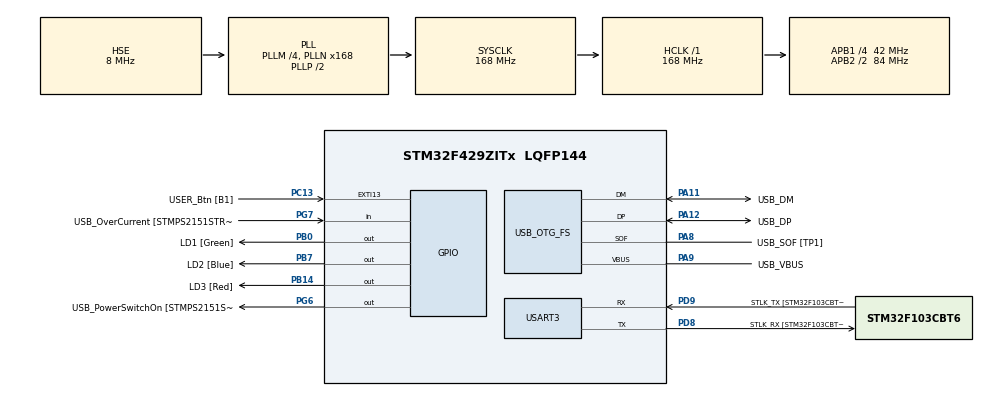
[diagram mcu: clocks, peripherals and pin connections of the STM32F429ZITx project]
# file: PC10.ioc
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Mcu.Family=STM32F4
Mcu.Name=STM32F429ZITx
Mcu.Package=LQFP144
NVIC.OTG_FS_IRQn=true\:0\:0\:false\:false\:true\:false\:true\:true
NVIC.PriorityGroup=NVIC_PRIORITYGROUP_4
PA1.GPIO_Label=RMII_REF_CLK [LAN8742A-CZ-TR_REFCLK0]
PA1.Signal=ETH_REF_CLK
PA10.GPIO_Label=USB_ID
PA10.Signal=USB_OTG_FS_ID
PA11.GPIO_Label=USB_DM
PA11.Mode=Device_Only
PA11.Signal=USB_OTG_FS_DM
PA12.GPIO_Label=USB_DP
PA12.Mode=Device_Only
PA12.Signal=USB_OTG_FS_DP
PA13.GPIO_Label=TMS
PA13.Mode=Serial_Wire
PA13.Signal=SYS_JTMS-SWDIO
PA14.GPIO_Label=TCK
PA14.Mode=Serial_Wire
PA14.Signal=SYS_JTCK-SWCLK
PA2.GPIO_Label=RMII_MDIO [LAN8742A-CZ-TR_MDIO]
PA2.Signal=ETH_MDIO
PA7.GPIO_Label=RMII_CRS_DV [LAN8742A-CZ-TR_CRS_DV]
PA7.Signal=ETH_CRS_DV
PA8.GPIO_Label=USB_SOF [TP1]
PA8.Mode=Activate_SOF_FS
PA8.Signal=USB_OTG_FS_SOF
PA9.GPIO_Label=USB_VBUS
PA9.Mode=Activate_VBUS
PA9.Signal=USB_OTG_FS_VBUS
PB0.GPIO_Label=LD1 [Green]
PB0.Signal=GPIO_Output
PB13.GPIO_Label=RMII_TXD1 [LAN8742A-CZ-TR_TXD1]
PB13.Signal=ETH_TXD1
PB14.GPIO_Label=LD3 [Red]
PB14.Signal=GPIO_Output
PB7.GPIO_Label=LD2 [Blue]
PB7.Signal=GPIO_Output
PC1.GPIO_Label=RMII_MDC [LAN8742A-CZ-TR_MDC]
PC1.Signal=ETH_MDC
PC13.GPIO_Label=USER_Btn [B1]
PC13.Signal=GPXTI13
PC14/OSC32_IN.Mode=LSE-External-Oscillator
PC14/OSC32_IN.Signal=RCC_OSC32_IN
PC15/OSC32_OUT.Mode=LSE-External-Oscillator
PC15/OSC32_OUT.Signal=RCC_OSC32_OUT
PC4.GPIO_Label=RMII_RXD0 [LAN8742A-CZ-TR_RXD0]
PC4.Signal=ETH_RXD0
PC5.GPIO_Label=RMII_RXD1 [LAN8742A-CZ-TR_RXD1]
PC5.Signal=ETH_RXD1
PD8.GPIO_Label=STLK_RX [STM32F103CBT6_PA3]
PD8.Mode=Asynchronous
PD8.Signal=USART3_TX
PD9.GPIO_Label=STLK_TX [STM32F103CBT6_PA2]
PD9.Mode=Asynchronous
PD9.Signal=USART3_RX
PG11.GPIO_Label=RMII_TX_EN [LAN8742A-CZ-TR_TXEN]
PG11.Signal=ETH_TX_EN
PG13.GPIO_Label=RMII_TXD0 [LAN8742A-CZ-TR_TXD0]
PG13.Signal=ETH_TXD0
PG6.GPIO_Label=USB_PowerSwitchOn [STMPS2151STR_EN]
PG6.Signal=GPIO_Output
PG7.GPIO_Label=USB_OverCurrent [STMPS2151STR_FAULT]
PG7.Signal=GPIO_Input
PH0/OSC_IN.GPIO_Label=MCO [STM32F103CBT6_PA8]
PH0/OSC_IN.Mode=HSE-External-Clock-Source
PH0/OSC_IN.Signal=RCC_OSC_IN
PH1/OSC_OUT.Mode=HSE-External-Clock-Source
PH1/OSC_OUT.Signal=RCC_OSC_OUT
ProjectManager.HeapSize=0x200
ProjectManager.StackSize=0x400
ProjectManager.TargetToolchain=STM32CubeIDE
RCC.48MHZClocksFreq_Value=48000000
RCC.AHBFreq_Value=168000000
RCC.APB1CLKDivider=RCC_HCLK_DIV4
RCC.APB1Freq_Value=42000000
RCC.APB1TimFreq_Value=84000000
RCC.APB2CLKDivider=RCC_HCLK_DIV2
RCC.APB2Freq_Value=84000000
RCC.APB2TimCLKDivider=2
RCC.APB2TimFreq_Value=168000000
RCC.CortexFreq_Value=168000000
RCC.HCLKFreq_Value=168000000
RCC.HSE_VALUE=8000000
RCC.HSI_VALUE=16000000
RCC.PLLM=4
RCC.PLLMUL=RCC_PLL_MUL9
RCC.PLLN=168
RCC.PLLQ=7
RCC.PRESCALERUSB=RCC_USBCLKSOURCE_PLL_DIV1_5
RCC.SYSCLKFreq_VALUE=168000000
RCC.SYSCLKSource=RCC_SYSCLKSOURCE_PLLCLK
RCC.SYSCLKSourceVirtual=RCC_SYSCLKSOURCE_PLLCLK
RCC.USBFreq_Value=48000000
RCC.VCOOutputFreq_Value=336000000
USART3.VirtualMode=VM_ASYNC
USB_DEVICE.CLASS_NAME_FS=HID
USB_DEVICE.VirtualMode-HID_FS=Hid
USB_DEVICE.VirtualModeFS=Hid_FS
USB_OTG_FS.VirtualMode=Device_Only
VP_USB_DEVICE_VS_USB_DEVICE_HID_FS.Mode=HID_FS
board=NUCLEO-F429ZI

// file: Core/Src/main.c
/* USER CODE BEGIN Header */
/**
  ******************************************************************************
  * @file           : main.c
  * @brief          : Main program body
  ******************************************************************************
  * @attention
  *
  * Copyright (c) 2025 STMicroelectronics.
  * All rights reserved.
  *
  * This software is licensed under terms that can be found in the LICENSE file
  * in the root directory of this software component.
  * If no LICENSE file comes with this software, it is provided AS-IS.
  *
  ******************************************************************************
  */
/* USER CODE END Header */
#include "main.h"
#include "usb_device.h"

/* USER CODE BEGIN Includes */

#include "usbd_hid.h"
#include <math.h>

/* USER CODE END Includes */

UART_HandleTypeDef huart3;

void SystemClock_Config(void);
static void MX_GPIO_Init(void);
static void MX_USART3_UART_Init(void);

/* USER CODE BEGIN 0 */

extern USBD_HandleTypeDef hUsbDeviceFS;

void mouseMove(int8_t x, int8_t y, uint8_t click)
{
	uint8_t buff[4];
	buff[0] = (click)?0x01:0x00; // press the left button
	buff[1] = (int8_t)(x); // shift X +10
	buff[2] = (int8_t)(y); // shift Y -3
	buff[3] = 0; // no scroll
	USBD_HID_SendReport(&hUsbDeviceFS, buff, sizeof(buff));
	HAL_Delay(USBD_HID_GetPollingInterval(&hUsbDeviceFS));
}

const float pi = acos(-1);

void plotCircle(float angleStart, float angleStop, float angleStep, uint8_t maxStepSize)
{

		 	  float lastSin = sinf(angleStart);
		   float lastCos = cosf(angleStart);

	for(float ang = angleStart; ang < angleStop; ang += angleStep)
	  {

		  float curSin = sinf(ang);
		  float curCos = cosf(ang);

		  int8_t sx = (curSin - lastSin) * maxStepSize;
		  int8_t sy = (curCos - lastCos) * maxStepSize;

		  lastSin = curSin;
		  lastCos = curCos;

		  mouseMove(sx, sy, 1);
	  }

	mouseMove(0, 0, 0);
}

/* USER CODE END 0 */

int main(void)
{

  /* MCU Configuration--------------------------------------------------------*/

  /* Reset of all peripherals, Initializes the Flash interface and the Systick. */
  HAL_Init();

  /* Configure the system clock */
  SystemClock_Config();

  /* Initialize all configured peripherals */
  MX_GPIO_Init();
  MX_USART3_UART_Init();
  MX_USB_DEVICE_Init();

  /* Infinite loop */
  /* USER CODE BEGIN WHILE */
  while (1)
  {
	  if(HAL_GPIO_ReadPin(USER_Btn_GPIO_Port, USER_Btn_Pin))
	  {
		  plotCircle(0, 2*pi, 0.1, 127);
		  mouseMove(-40, -80, 0);
		  plotCircle(0, 2*pi, 0.1, 30);
		  mouseMove(80, 0, 0);
		  plotCircle(0, 2*pi, 0.1, 30);

		  mouseMove(-25, 00, 1);
		  mouseMove(0, 20, 0);

		  mouseMove(-50, -5, 0);
		  plotCircle(-pi/3, pi/3, 0.1, 100);

	  }
	  else
	  {

	  }
    /* USER CODE END WHILE */

  }
}

void SystemClock_Config(void)
{
  RCC_OscInitTypeDef RCC_OscInitStruct = {0};
  RCC_ClkInitTypeDef RCC_ClkInitStruct = {0};

  /** Configure the main internal regulator output voltage
  */
  __HAL_RCC_PWR_CLK_ENABLE();
  __HAL_PWR_VOLTAGESCALING_CONFIG(PWR_REGULATOR_VOLTAGE_SCALE1);

  /** Initializes the RCC Oscillators according to the specified parameters
  * in the RCC_OscInitTypeDef structure.
  */
  RCC_OscInitStruct.OscillatorType = RCC_OSCILLATORTYPE_HSE;
  RCC_OscInitStruct.HSEState = RCC_HSE_BYPASS;
  RCC_OscInitStruct.PLL.PLLState = RCC_PLL_ON;
  RCC_OscInitStruct.PLL.PLLSource = RCC_PLLSOURCE_HSE;
  RCC_OscInitStruct.PLL.PLLM = 4;
  RCC_OscInitStruct.PLL.PLLN = 168;
  RCC_OscInitStruct.PLL.PLLP = RCC_PLLP_DIV2;
  RCC_OscInitStruct.PLL.PLLQ = 7;
  if (HAL_RCC_OscConfig(&RCC_OscInitStruct) != HAL_OK)
  {
    Error_Handler();
  }

  /** Initializes the CPU, AHB and APB buses clocks
  */
  RCC_ClkInitStruct.ClockType = RCC_CLOCKTYPE_HCLK|RCC_CLOCKTYPE_SYSCLK
                              |RCC_CLOCKTYPE_PCLK1|RCC_CLOCKTYPE_PCLK2;
  RCC_ClkInitStruct.SYSCLKSource = RCC_SYSCLKSOURCE_PLLCLK;
  RCC_ClkInitStruct.AHBCLKDivider = RCC_SYSCLK_DIV1;
  RCC_ClkInitStruct.APB1CLKDivider = RCC_HCLK_DIV4;
  RCC_ClkInitStruct.APB2CLKDivider = RCC_HCLK_DIV2;

  if (HAL_RCC_ClockConfig(&RCC_ClkInitStruct, FLASH_LATENCY_5) != HAL_OK)
  {
    Error_Handler();
  }
}

static void MX_USART3_UART_Init(void)
{

  huart3.Instance = USART3;
  huart3.Init.BaudRate = 115200;
  huart3.Init.WordLength = UART_WORDLENGTH_8B;
  huart3.Init.StopBits = UART_STOPBITS_1;
  huart3.Init.Parity = UART_PARITY_NONE;
  huart3.Init.Mode = UART_MODE_TX_RX;
  huart3.Init.HwFlowCtl = UART_HWCONTROL_NONE;
  huart3.Init.OverSampling = UART_OVERSAMPLING_16;
  if (HAL_UART_Init(&huart3) != HAL_OK)
  {
    Error_Handler();
  }

}

static void MX_GPIO_Init(void)
{
  GPIO_InitTypeDef GPIO_InitStruct = {0};

  /* GPIO Ports Clock Enable */
  __HAL_RCC_GPIOC_CLK_ENABLE();
  __HAL_RCC_GPIOH_CLK_ENABLE();
  __HAL_RCC_GPIOA_CLK_ENABLE();
  __HAL_RCC_GPIOB_CLK_ENABLE();
  __HAL_RCC_GPIOD_CLK_ENABLE();
  __HAL_RCC_GPIOG_CLK_ENABLE();

  /*Configure GPIO pin Output Level */
  HAL_GPIO_WritePin(GPIOB, LD1_Pin|LD3_Pin|LD2_Pin, GPIO_PIN_RESET);

  /*Configure GPIO pin Output Level */
  HAL_GPIO_WritePin(USB_PowerSwitchOn_GPIO_Port, USB_PowerSwitchOn_Pin, GPIO_PIN_RESET);

  /*Configure GPIO pin : USER_Btn_Pin */
  GPIO_InitStruct.Pin = USER_Btn_Pin;
  GPIO_InitStruct.Mode = GPIO_MODE_IT_RISING;
  GPIO_InitStruct.Pull = GPIO_NOPULL;
  HAL_GPIO_Init(USER_Btn_GPIO_Port, &GPIO_InitStruct);

  /*Configure GPIO pins : RMII_MDC_Pin RMII_RXD0_Pin RMII_RXD1_Pin */
  GPIO_InitStruct.Pin = RMII_MDC_Pin|RMII_RXD0_Pin|RMII_RXD1_Pin;
  GPIO_InitStruct.Mode = GPIO_MODE_AF_PP;
  GPIO_InitStruct.Pull = GPIO_NOPULL;
  GPIO_InitStruct.Speed = GPIO_SPEED_FREQ_VERY_HIGH;
  GPIO_InitStruct.Alternate = GPIO_AF11_ETH;
  HAL_GPIO_Init(GPIOC, &GPIO_InitStruct);

  /*Configure GPIO pins : RMII_REF_CLK_Pin RMII_MDIO_Pin RMII_CRS_DV_Pin */
  GPIO_InitStruct.Pin = RMII_REF_CLK_Pin|RMII_MDIO_Pin|RMII_CRS_DV_Pin;
  GPIO_InitStruct.Mode = GPIO_MODE_AF_PP;
  GPIO_InitStruct.Pull = GPIO_NOPULL;
  GPIO_InitStruct.Speed = GPIO_SPEED_FREQ_VERY_HIGH;
  GPIO_InitStruct.Alternate = GPIO_AF11_ETH;
  HAL_GPIO_Init(GPIOA, &GPIO_InitStruct);

  /*Configure GPIO pins : LD1_Pin LD3_Pin LD2_Pin */
  GPIO_InitStruct.Pin = LD1_Pin|LD3_Pin|LD2_Pin;
  GPIO_InitStruct.Mode = GPIO_MODE_OUTPUT_PP;
  GPIO_InitStruct.Pull = GPIO_NOPULL;
  GPIO_InitStruct.Speed = GPIO_SPEED_FREQ_LOW;
  HAL_GPIO_Init(GPIOB, &GPIO_InitStruct);

  /*Configure GPIO pin : RMII_TXD1_Pin */
  GPIO_InitStruct.Pin = RMII_TXD1_Pin;
  GPIO_InitStruct.Mode = GPIO_MODE_AF_PP;
  GPIO_InitStruct.Pull = GPIO_NOPULL;
  GPIO_InitStruct.Speed = GPIO_SPEED_FREQ_VERY_HIGH;
  GPIO_InitStruct.Alternate = GPIO_AF11_ETH;
  HAL_GPIO_Init(RMII_TXD1_GPIO_Port, &GPIO_InitStruct);

  /*Configure GPIO pin : USB_PowerSwitchOn_Pin */
  GPIO_InitStruct.Pin = USB_PowerSwitchOn_Pin;
  GPIO_InitStruct.Mode = GPIO_MODE_OUTPUT_PP;
  GPIO_InitStruct.Pull = GPIO_NOPULL;
  GPIO_InitStruct.Speed = GPIO_SPEED_FREQ_LOW;
  HAL_GPIO_Init(USB_PowerSwitchOn_GPIO_Port, &GPIO_InitStruct);

  /*Configure GPIO pin : USB_OverCurrent_Pin */
  GPIO_InitStruct.Pin = USB_OverCurrent_Pin;
  GPIO_InitStruct.Mode = GPIO_MODE_INPUT;
  GPIO_InitStruct.Pull = GPIO_NOPULL;
  HAL_GPIO_Init(USB_OverCurrent_GPIO_Port, &GPIO_InitStruct);

  /*Configure GPIO pins : RMII_TX_EN_Pin RMII_TXD0_Pin */
  GPIO_InitStruct.Pin = RMII_TX_EN_Pin|RMII_TXD0_Pin;
  GPIO_InitStruct.Mode = GPIO_MODE_AF_PP;
  GPIO_InitStruct.Pull = GPIO_NOPULL;
  GPIO_InitStruct.Speed = GPIO_SPEED_FREQ_VERY_HIGH;
  GPIO_InitStruct.Alternate = GPIO_AF11_ETH;
  HAL_GPIO_Init(GPIOG, &GPIO_InitStruct);

}

void Error_Handler(void)
{
  __disable_irq();
  while (1)
  {
  }
}
